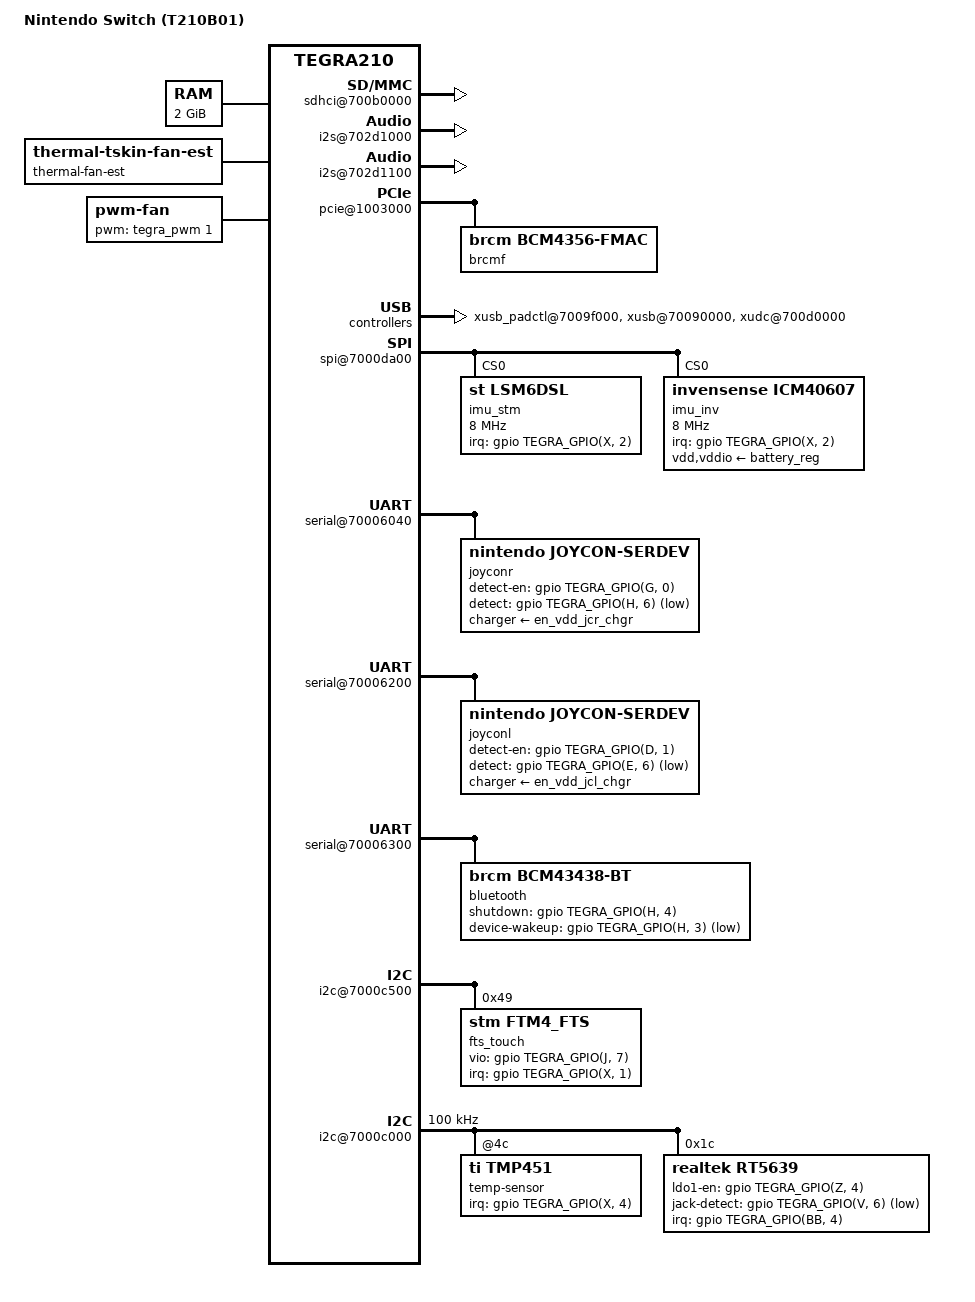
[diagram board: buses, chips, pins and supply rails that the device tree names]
/*
 * Copyright (c) 2022-2023, CTCaer <ctcaer@gmail.com>
 *
 * This program is free software; you can redistribute it and/or modify
 * it under the terms of the GNU General Public License as published by
 * the Free Software Foundation; version 2 of the License.
 *
 * This program is distributed in the hope that it will be useful, but WITHOUT
 * ANY WARRANTY; without even the implied warranty of MERCHANTABILITY or
 * FITNESS FOR A PARTICULAR PURPOSE.  See the GNU General Public License for
 * more details.
 *
 */

/dts-v1/;

/memreserve/ 0x80000000 0x00020000;

#include <tegra210b01-soc/tegra210b01-soc-common-platform.dtsi>
#include "tegra210-nx-keys.dtsi"
#include <tegra210-soc/tegra210-audio.dtsi>
#include <t210-common-platforms/tegra210-thermal-nct72-p2530.dtsi>
#include <tegra210-soc/tegra210-thermal-Tboard-Tdiode.dtsi>
#include <dt-bindings/soc/tegra-pmc.h>
#include <dt-bindings/thermal/tegra210b01-trips.h>

/ {
	model = "Nintendo Switch (T210B01)";
	compatible = "nintendo,nx", "nvidia,tegra210b01";

	nvidia,boardids = "2595:0000:A0";
	nvidia,proc-boardid = "2595:0000:A0";
	nvidia,pmu-boardid = "2595:0000:A0";
	#address-cells = <2>;
	#size-cells = <2>;

	serial-number = "1234";

	chosen {
		bootargs = "root=/dev/mmcblk0p1 rw rootwait fbcon=rotate:3 printk.synchronous=1 loglevel=8 console=fb0 console=ttyGS0";
		nvidia,bluetooth-mac = "11:22:33:44:55:66";
		nvidia,wifi-mac = "11:22:33:44:55:77";
	};

	se_elp@70420000 {
		status = "okay";
	};

	rtc {
		nvidia,pmc-wakeup = <&tegra_pmc PMC_WAKE_TYPE_EVENT 16
			PMC_TRIGGER_TYPE_HIGH>; /* rtc_irq */
	};

	tegra_fiq_debugger {
		status = "disabled";
	};

	pmc@7000e400 {
		/delete-property/ nvidia,secure-pmc;
		nvidia,invert-interrupt;
		nvidia,suspend-mode = <0>;
		nvidia,cpu-pwr-good-time = <0>;
		nvidia,cpu-pwr-off-time = <0>;
		nvidia,core-pwr-good-time = <13092 7752>;
		nvidia,core-pwr-off-time = <44188>;
		nvidia,core-pwr-req-active-high;
		nvidia,sys-clock-req-active-high;
		#nvidia,wake-cells = <3>;
		nvidia,restrict-voltage-switch;
		pinctrl-names = "default";
		pinctrl-0 = <&pinctrl_iopad_default>;
		pinctrl_iopad_default:iopad-defaults {

			audio-hv-pads {
				pins = "audio-hv";
				nvidia,power-source-voltage = <TEGRA_IO_PAD_VOLTAGE_1800000UV>;
			};

			audio-pads {
				nvidia,power-source-voltage = <TEGRA_IO_PAD_VOLTAGE_1800000UV>;
				pins = "audio";
			};

			cam-pads {
				nvidia,power-source-voltage = <TEGRA_IO_PAD_VOLTAGE_1800000UV>;
				pins = "cam";
			};

			dbg-pads {
				nvidia,power-source-voltage = <TEGRA_IO_PAD_VOLTAGE_1800000UV>;
				pins = "dbg";
			};

			dmic-pads {
				nvidia,power-source-voltage = <TEGRA_IO_PAD_VOLTAGE_1800000UV>;
				pins = "dmic";
			};

			spi-hv-pads {
				pins = "spi-hv";
				nvidia,power-source-voltage = <TEGRA_IO_PAD_VOLTAGE_1800000UV>;
			};

			gpio-pads {
				pins = "gpio";
				nvidia,power-source-voltage = <TEGRA_IO_PAD_VOLTAGE_1800000UV>;
			};

			pex-ctrl-pads {
				nvidia,power-source-voltage = <TEGRA_IO_PAD_VOLTAGE_1800000UV>;
				pins = "pex-ctrl";
			};

			sdmmc1-pads {
				pins = "sdmmc1";
				nvidia,enable-voltage-switching;
			};

			emmc2-pads {
				pins = "emmc2";
				low-power-enable;
			};

			sdmmc3-pads {
				low-power-enable;
				nvidia,enable-voltage-switching;
				nvidia,power-source-voltage = <TEGRA_IO_PAD_VOLTAGE_1800000UV>;
				pins = "sdmmc3";
			};

			spi-pads {
				nvidia,power-source-voltage = <TEGRA_IO_PAD_VOLTAGE_1800000UV>;
				pins = "spi";
			};

			uart-pads {
				nvidia,power-source-voltage = <TEGRA_IO_PAD_VOLTAGE_1800000UV>;
				pins = "uart";
			};
		};

		bootrom-commands {
			reset-commands {
				nvidia,command-retries-count = <2>;
				nvidia,delay-between-commands-us = <10>;
				nvidia,wait-before-start-bus-clear-us = <10>;
				#address-cells = <1>;
				#size-cells = <0>;

				commands@4-0068 {
					nvidia,command-names = "r2p-setup";
					reg = <0x68>;
					nvidia,enable-8bit-register;
					nvidia,enable-8bit-data;
					nvidia,controller-type-i2c;
					nvidia,controller-id = <4>;
					nvidia,enable-controller-reset;
					nvidia,write-commands = <
							0x13 0x00 /* r2p enc 0 */
							0x1A 0x00 /* r2p enc 1 */
							0x11 0x00 /* r2p mgc 0 */
							0x18 0x00 /* r2p mgc 1 */
							0x04 0x01 /* Update RTC regs */
						>;
				};
				commands@4-003c {
					nvidia,command-names = "pmic-rails";
					reg = <0x3c>;
					nvidia,enable-8bit-register;
					nvidia,enable-8bit-data;
					nvidia,controller-type-i2c;
					nvidia,controller-id = <4>;
					nvidia,enable-controller-reset;
					nvidia,write-commands = <
							0x16 0x20 /* Set 1.0V and disable SD0 */
							0x42 0x99 /* Wake reasons: SFT_RST/ACOK/LID/EN0 */
							0x41 0x80 /* Reboot */
						>;
				};
			};
		};
	};

	memory@80000000 {
		device_type = "memory";
		reg = < 0x0 0x80000000 0x0 0x80000000 >;
	};

	sdhci@700b0600 { /* SDMMC4 for EMMC */
		cd-gpios = <&gpio TEGRA_GPIO(Z, 1) 0>;
		bus-width = <8>;
		uhs-mask = <0x0>;       /* hs400 */
		tap-delay = <11>;
		trim-delay = <13>;
		only-1-8-v;
		no-sdio;
		no-sd;
		max-clk-limit = <200000000>;
		pll_source = "pll_p", "pll_c4_out2";
		clocks = <&tegra_car TEGRA210_CLK_SDMMC4>,
			   <&tegra_car TEGRA210_CLK_PLL_P>,
			   <&tegra_car TEGRA210_CLK_PLL_C4_OUT2>,
			   <&tegra_car TEGRA210_CLK_SDMMC_LEGACY>;
		clock-names = "sdmmc", "pll_p", "pll_c4_out2", "sdmmc_legacy_tm";
		status = "disabled";
	};

	sdhci@700b0400 { /* SDMMC3 Not Used */
		status = "disabled";
	};

	sdhci@700b0200 { /* SDMMC2 for Gamecard */
		uhs-mask = <0x0>;	/* hs400 */
		tap-delay = <11>;
		trim-delay = <13>;
		nvidia,is-ddr-tap-delay;
		nvidia,ddr-tap-delay = <0>;
		mmc-ocr-mask = <0>;
		dqs-trim-delay = <17>;
		dqs-trim-delay-hs533 = <24>;
		max-clk-limit = <200000000>;
		bus-width = <8>;
		built-in;
		calib-3v3-offsets = <0x0505>;
		calib-1v8-offsets = <0x0505>;
		compad-vref-3v3 = <0x7>;
		compad-vref-1v8 = <0x7>;
		nvidia,en-io-trim-volt;
		nvidia,is-emmc;
		nvidia,enable-cq;
		ignore-pm-notify;
		keep-power-in-suspend;
		non-removable;
		cap-mmc-highspeed;
		cap-sd-highspeed;
		mmc-ddr-1_8v;
		mmc-hs200-1_8v;
		mmc-hs400-1_8v;
		nvidia,enable-strobe-mode;
		pll_source = "pll_p", "pll_c4_out2";
		clocks = <&tegra_car TEGRA210_CLK_SDMMC2>,
			   <&tegra_car TEGRA210_CLK_PLL_P>,
			   <&tegra_car TEGRA210_CLK_PLL_C4_OUT2>;
		clock-names = "sdmmc", "pll_p", "pll_c4_out2";
		status = "disabled";
	};

	sdhci@700b0000 { /* SDMMC1 for uSD card */
		uhs-mask = <0x0c>;
		tap-delay = <11>;
		trim-delay = <14>;
		power-off-rail;
		default-drv-type = <0x01>;
		nvidia,update-pinctrl-settings;
		nvidia,sd-device;
		no-sdio;
		no-mmc;
		max-clk-limit = <200000000>;
		default-drv-type = <1>;
		pll_source = "pll_p", "pll_c4_out2";
		clocks = <&tegra_car TEGRA210_CLK_SDMMC1>,
			   <&tegra_car TEGRA210_CLK_PLL_P>,
			   <&tegra_car TEGRA210_CLK_PLL_C4_OUT2>,
			   <&tegra_car TEGRA210_CLK_SDMMC_LEGACY>;
		clock-names = "sdmmc", "pll_p", "pll_c4_out2", "sdmmc_legacy_tm";
		nvidia,cd-wakeup-capable;
		status = "okay";

		nvidia,pmc-wakeup = <&tegra_pmc
			PMC_WAKE_TYPE_EVENT 35 (PMC_TRIGGER_TYPE_RISING | PMC_TRIGGER_TYPE_FALLING)>; /* gpio_pz1_IB */
	};

	bpmp {
		carveout-start = <0xFFE00000>;
		carveout-size = <0x100000>;
	};

	aconnect@702c0000 {
		status = "okay";

		adma@702e2000  {
			status = "okay";
		};

		ahub {
			i2s@702d1000 {
				pinctrl-names = "dap_active", "dap_inactive";
				pinctrl-0 = <>;
				pinctrl-1 = <>;
				regulator-supplies = "vdd-1v8-audio-hv", "vdd-1v8-audio-hv-bias";
				vdd-1v8-audio-hv-supply = <&max77620_sd3>;
				vdd-1v8-audio-hv-bias-supply = <&max77620_sd3>;
				fsync-width = <31>;
				status = "okay";
			};

			i2s@702d1100 {
				pinctrl-names = "dap_active", "dap_inactive";
				pinctrl-0 = <>;
				pinctrl-1 = <>;
				regulator-supplies = "vdd-1v8-spi-hv", "vdd-1v8-spi-hv-bias";
				vdd-1v8-spi-hv-supply = <&max77620_sd3>;
				vdd-1v8-spi-hv-bias-supply = <&max77620_sd3>;
				fsync-width = <0>;
				status = "okay";
			};

			i2s@702d1200 {
				status = "disabled";
			};

			i2s@702d1300 {
				status = "disabled";
			};

			i2s@702d1400 {
				status = "disabled";
			};
		};

		adsp_audio {
			status = "disabled";
		};
	};

	pcie@1003000 {
		compatible = "nvidia,tegra210b01-pcie";
		nvidia,wake-gpio = <&gpio TEGRA_GPIO(A, 2) 0>; /* BCM4356 WIFI PME */

		avdd-pll-uerefe-supply = <&max77620_ldo1>;
		hvddio-pex-supply = <&max77620_sd3>;
		dvddio-pex-supply = <&max77620_ldo1>;
		dvdd-pex-pll-supply = <&max77620_ldo1>;
		hvdd-pex-pll-e-supply = <&max77620_sd3>;
		vddio-pex-ctl-supply = <&max77620_sd3>;
		status = "okay";

		pci@1,0 {
			phys =	<&{/xusb_padctl@7009f000/pads/pcie/lanes/pcie-3}>, /* Referred to plat config */
				<&{/xusb_padctl@7009f000/pads/pcie/lanes/pcie-2}>;
			phy-names = "pcie-0", "pcie-1";
			nvidia,num-lanes = <2>;
			status = "disabled";
		};

		pci@2,0 {
			phys = <&{/xusb_padctl@7009f000/pads/pcie/lanes/pcie-0}>;
			phy-names = "pcie-0";
			status = "okay";

			brcmf { /* PCIE-0 (Port 1) */
				compatible = "brcm,bcm4356-fmac";
				brcm,reset_on_wake;

				/* nvidia,pmc-wakeup = <&tegra_pmc
					PMC_WAKE_TYPE_EVENT 8 PMC_TRIGGER_TYPE_HIGH>; */ /* WiFi Wake Ap (H, 2) */
			};
		};
	};

	xusb_padctl@7009f000 {
		status = "okay";

		pads {
			usb2 {
				status = "okay";

				lanes {
					usb2-0 {
						nvidia,hs_curr_level_offset = <6>;
						nvidia,function = "xusb";
						status = "okay";
					};
				};
			};

			pcie {
				status = "okay";

				lanes {
					/* BCM4356A3-WiFi */
					pcie-0 {
						nvidia,function = "pcie-x1";
						status = "okay";
					};

					/* Unused ports */
					pcie-1 {
						nvidia,function = "xusb";
						status = "okay";
					};
					pcie-2 {
						nvidia,function = "pcie-x4";
						status = "okay";
					};
					pcie-3 {
						nvidia,function = "pcie-x4";
						status = "okay";
					};
					pcie-4 {
						nvidia,function = "xusb";
						status = "okay";
					};

					/* USB3 port */
					pcie-5 {
						nvidia,function = "xusb";
						status = "okay";
					};
				};
			};
		};

		ports {
			usb2-0 {
				status = "okay";
				mode = "otg";
				nvidia,usb3-port-fake = <0>;
			};

			usb3-0 {
				nvidia,usb2-companion = <0>;
				status = "okay";
			};
		};
	};

	spi@7000da00 {
		status = "okay"; /* Disabled for Vali */

		imu_stm: lsm6dsl@0 {
			compatible = "st,lsm6dsl";
			reg = <0>;
			spi-max-frequency = <8000000>;
			interrupt-parent = <&gpio>;
			interrupts = <TEGRA_GPIO(X, 2) IRQ_TYPE_LEVEL_HIGH>;
			st,drdy-int-pin = <2>;
			status = "okay"; /* Disabled for Vali/Frig */
			#address-cells = <0x1>;
			#size-cells = <0x0>;
			nvidia,enable-hw-based-cs;
			nvidia,cs-setup-clk-count = <0x1e>;
			nvidia,cs-hold-clk-count = <0x1e>;
			nvidia,rx-clk-tap-delay = <0x1f>;
			nvidia,tx-clk-tap-delay = <0x0>;
			mount-matrix =
				"0", "1",  "0", /* X:  y */
				"1", "0",  "0", /* Y:  x */
				"0", "0", "-1"; /* Z: -z */
		};

		imu_inv: icm40607@0 {
			compatible = "invensense,icm40607";
			reg = <0>;
			spi-max-frequency = <8000000>;
			spi-cpha;
			spi-cpol;
			interrupt-parent = <&gpio>;
			interrupts = <TEGRA_GPIO(X, 2) IRQ_TYPE_LEVEL_HIGH>;
			vdd-supply = <&battery_reg>;
			vddio-supply = <&battery_reg>;
			irq-int2;
			status = "okay"; /* Disabled for Modin/Vali */
			#address-cells = <0x1>;
			#size-cells = <0x0>;
			nvidia,enable-hw-based-cs;
			nvidia,cs-setup-clk-count = <0x1e>;
			nvidia,cs-hold-clk-count = <0x1e>;
			nvidia,rx-clk-tap-delay = <0x1f>;
			nvidia,tx-clk-tap-delay = <0x0>;
			mount-matrix =
				"0", "-1",  "0", /* X: -y */
				"1",  "0",  "0", /* Y:  x */
				"0",  "0", "-1"; /* Z: -z */
		};

		/delete-node/ spi-touch19x12@0;
		/delete-node/ spi-touch25x16@0;
		/delete-node/ spi-touch14x8@0;
	};

	cpufreq {
		compatible = "nvidia,tegra210-cpufreq";
		cpu-scaling-data {
			freq-table = <
				102000
				204000
				306000
				408000
				510000
				612000
				714000
				816000
				918000
				1020000
				1122000
				1224000
				1326000
				1428000
				1581000
				1683000
				1785000
				1887000
				1963500
				/* OC */
				2091000
				2193000
				2295000
				2397000
			>;
			max-safe-frequency = <1963500>;
			max-frequency = <2295000>;
			preserve-across-suspend;
		};

		emc-scaling-data {
			emc-cpu-limit-table = <
				/* CPU    EMC */
				102000	68000
				204800	102000
				307200	204000
				403000	408000
				710400	665600
				921600	1600000
				1581000	2131200
			>;
		};
	};

	dvfs {
		compatible = "nvidia,tegra210b01-dvfs", "nvidia,tegra210-dvfs";
		/*
		 * HOS:
		 * Beefy  regulator: Max 844800, Hard max 1228800.
		 * Retail regulator: Max 768000, Hard max  921600.
		 *
		 * L4T:
		 * Max freq: 1267200. Safe max: 998400
		 * 1075200 is too close to pmic limit with best binning (1721).
		 * 998400  is exactly at   pmic limit with bad  binning (1509).
		 */
		/* nvidia,gpu-max-freq-khz = <998400>; */ /* Still set for Vali */

		/*
		 * Voltage method of capping based on Speedo and Power draw.
		 * 800mV means the following:
		 * Normal:
		 *  Best binning (1721): 1075200 (9.7A)
		 *  Bad  binning (1509):  998400 (9.9A)
		 * B-Side:
		 *  Best binning (1721): 1152000 (10.8A)
		 *  Bad  binning (1509):  998400 ( 9.6A)
		 *
		 * Desired limits always too close to 10A,
		 * so pmic current limit is not triggered.
		 */
		nvidia,gpu-max-volt-mv = <800>;
	};

	gpu-dvfs-rework {
		status = "okay";
	};

	/* Console port */
	serial@70006000 {
		status = "disabled";
		console-port;
		sqa-automation-port;
		enable-rx-poll-timer;

		/delete-property/ resets;
		/delete-property/ reset-names;
	};

	/* Right Joycon */
	serial@70006040 {
		status = "okay";
		nvidia,invert-txd;
		nvidia,invert-rts;

		joyconr {
			status = "okay";
			name = "joyconr";
			compatible = "nintendo,joycon-serdev";
			charger-supply = <&en_vdd_jcr_chgr>;
			detect-en-gpios = <&gpio TEGRA_GPIO(G, 0) GPIO_ACTIVE_HIGH>;
			detect-gpios = <&gpio TEGRA_GPIO(H, 6) GPIO_ACTIVE_LOW>;
		};
	};

	/* Left Joycon / Sio */
	serial@70006200 {
		status = "okay";
		nvidia,invert-txd;
		nvidia,invert-rts;

		joyconl {
			status = "okay";
			name = "joyconl";
			compatible = "nintendo,joycon-serdev";
			charger-supply = <&en_vdd_jcl_chgr>;
			detect-en-gpios = <&gpio TEGRA_GPIO(D, 1) GPIO_ACTIVE_HIGH>;
			detect-gpios = <&gpio TEGRA_GPIO(E, 6) GPIO_ACTIVE_LOW>;
		};

		sio {
			status = "disabled";
			name = "sio";
			compatible = "nintendo,joycon-serdev";
			nintendo,sio;
			nintendo,sio-home-gpio = <&gpio TEGRA_GPIO(V, 3) 1>;
			nintendo,sio-por-gpio = <&gpio TEGRA_GPIO(CC, 5) 0>;
			nintendo,sio-rst-gpio = <&gpio TEGRA_GPIO(T, 1) 0>;

			clocks = <&tegra_car TEGRA210_CLK_CLK_OUT_2>,
				 <&tegra_car TEGRA210_CLK_CLK_OUT_2_MUX>,
				 <&tegra_car TEGRA210_CLK_EXTERN2>,
				 <&tegra_car TEGRA210_CLK_PLL_P>;
			clock-names = "sio_clk", "sio_pclk_mux", "sio_pclk",
				      "sio_pclk_pll";
			sio-clock-rate = <4000000>;
		};
	};

	serial@70006300 {
		dma-names = "tx";
		status = "okay";

		bluetooth {
			compatible = "brcm,bcm43438-bt";
			shutdown-gpios = <&gpio TEGRA_GPIO(H, 4) GPIO_ACTIVE_HIGH>;
			device-wakeup-gpios = <&gpio TEGRA_GPIO(H, 3) GPIO_ACTIVE_LOW>;
			/* host-wakeup-gpios = <&gpio TEGRA_GPIO(H, 5) GPIO_ACTIVE_LOW>; */ /* Enables auto-sleep */
			max-speed = <3000000>; /* Max supported 4 MBaud */
			sco-routing = <1>; /* Over HCI */

			/* nvidia,pmc-wakeup = <&tegra_pmc PMC_WAKE_TYPE_EVENT 52 PMC_TRIGGER_TYPE_LOW>; */ /* bt_wake_ap_IB */
		};
	};

	mailbox@70098000 {
		status = "okay";
	};

	extcon {
		extcon@0 {
			status = "disabled";
		};
	};

	/delete-node/ psy_extcon_xudc;
	/delete-node/ usb_cd@7009f000;

	psy_extcon {
		compatible = "power-supply-extcon";
		extcon-cables = <&bm92t 1>;
		extcon-cable-names = "usb-charger";
	};

	xusb@70090000 {
		compatible = "nvidia,tegra210b01-xhci";
		status = "okay";
		#extcon-cells = <1>;
		phys =  <&{/xusb_padctl@7009f000/pads/usb2/lanes/usb2-0}>,
			<&{/xusb_padctl@7009f000/pads/pcie/lanes/pcie-5}>;
		phy-names = "usb2-0", "usb3-0";
		extcon-cables = <&bm92t 0>;
		extcon-cable-names = "id";
		nvidia,boost_cpu_freq = <1200>;
	};

	xudc@700d0000 {
		compatible = "nvidia,tegra210b01-xudc";
		#extcon-cells = <1>;
		status = "okay";
		phys =  <&{/xusb_padctl@7009f000/pads/usb2/lanes/usb2-0}>,
			<&{/xusb_padctl@7009f000/pads/pcie/lanes/pcie-5}>;
		phy-names = "usb2", "usb3";
		extcon-cables = <&bm92t 1>;
		extcon-cable-names = "vbus";
		nvidia,boost_cpu_freq = <1200>;
	};

	xotg {
		#extcon-cells = <1>;
		status = "disabled";
	};

	thermal_fan_est_shared_data: tfesd {
		secret = <37>;
		toffset = <0>;
		polling_period = <1100>;
		ndevs = <2>;
		cdev_type = "pwm-fan";
		tzp_governor_name = "continuous_therm_gov";

		dev1 {
			dev_data = "Tdiode_tegra";
			group = <0>;

			/* Modin SoC Console */
			coeffs_mode0 = <6728 129810>;

			/* Modin SoC Handheld */
			coeffs_mode1 = <5675 203453>;
		};

		dev2 {
			dev_data = "Tboard_tegra";
			group = <1>;

			/* Modin PCB Console */
			coeffs_mode0 = <7338 112161>;

			/* Modin PCB Handheld */
			coeffs_mode1 = <6357 168124>;
		};
	};

	thermal-fan-est {
		compatible = "thermal-tskin-fan-est";
		name = "thermal-fan-est";
		status = "okay";

		num_resources = <0>;
		shared_data = <&thermal_fan_est_shared_data>;
		trip_length = <10>;

		thermal-zone-params {
			governor-name = "continuous_therm_gov";
			iir_power = <7>;
			iir_min = <10>;
			iir_max = <1000>;
			iir_gain_qp = <1000>;
			iir_upper_width = <5000>;
			iir_lower_width = <15000>;
		};

		profiles {
			default = "Console";
			Console {
				name = "Console";
				active_trip_temps = <
					0 36000 40000 43000 53000 58000
					70000 80000 90000 100000>; /* Unused */
				active_hysteresis = <0 0 3900 2900 0 0 0 0 0 0>;
			};
			Handheld {
				name = "Handheld";
				active_trip_temps = <
					0 36000 40000 43000 48000 53000 58000 60000
					90000 100000>; /* Unused */
				active_hysteresis = <0 0 3900 2900 0 4900 0 0 0 0>;
			};
			/* Uses Handheld tskin coeffs and Console fan duties */
			Cool {
				name = "Cool";
				active_trip_temps = <
					0 32000 37000 40000 45000 55000
					70000 80000 90000 100000>; /* Unused */
				active_hysteresis = <0 0 0 0 0 0 0 0 0 0>;
			};
		};
	};

	pwm_fan_shared_data: pfsd {
		secret = <47>;
		num_resources = <0>;
		active_steps = <10>;
		active_rpm = <0 0 2600 2600 4900 6900 10000 10000 10000 10000>;
		active_rru = <10 10 10 1 1 1 1 1 1 1>;
		active_rrd = <10 10 10 1 1 1 1 1 1 1>;
		state_cap_lookup = <1 1 2 6 6 6 6 6 6 6>;

		pwm_period = <33333>;
		pwm_id = <1>;
		pwm_polarity = <1>;
		step_time = <100>;
		state_cap = <6>;
		active_pwm_max = <256>;
		tach_gpio =  <&gpio TEGRA_GPIO(S, 7) GPIO_ACTIVE_LOW>; /* TEGRA_GPIO_PS7 */
		pwm_gpio = <&gpio TEGRA_GPIO(V, 4) GPIO_ACTIVE_LOW>; /* TEGRA_GPIO_PV4 */
		tach_period = <1000>;
	};

	pwm-fan {
		compatible = "pwm-fan";
		name = "pwm-fan";
		status = "okay";
		pwms = <&tegra_pwm 1 33333>;
		shared_data = <&pwm_fan_shared_data>;
		continuous_gov_boot_on;

		profiles {
			default = "Console";
			Console {
				name = "Console";
				state_cap = <6>;
				active_pwm = <0 0 51 51 153 255 255 255 255 255>;
			};
			Handheld {
				name = "Handheld";
				state_cap = <7>;
				active_pwm = <0 0 51 51 102 153 204 255 255 255>;
			};
			Cool {
				name = "Cool";
				state_cap = <6>;
				active_pwm = <0 0 51 51 153 255 255 255 255 255>;
			};
		};
	};

	tegra_pmc_lsb_pwm: tegra-pmc-led-soft-blink-pwm {
		status = "disabled";
		pwm,led-breathing-ramp-time-ns = <61036>; /* 61 us */
		pwm,led-breathing-short-period-ns = <30518>; /* 30 us */
	};

	/* kill it and export pwm or find a way to use it */

//	notification_led: pwmleds {
//		compatible = "pwm-leds";
//		status = "disabled";
//		blue {
//			label = "blue";
//			pwms = <&tegra_pmc_lsb_pwm 0 122072>; /* 122us. Min: 30 us (and 2x ramp time) */
//			/* linux,default_trigger = "heartbeat"; */
//		};
//	};

	ptm {
		status = "disabled";
	};

	i2c@7000c500 {
		fts_touch: fts@49 {
			compatible = "stm,ftm4_fts";
			status = "okay";
			reg = <0x49>;
			interrupt-parent = <&gpio>;
			interrupts = <TEGRA_GPIO(X, 1) IRQ_TYPE_LEVEL_LOW>;
			stm,vio-gpio = <&gpio TEGRA_GPIO(J, 7) GPIO_ACTIVE_HIGH>;
			stm,irq_type = <0x2000>; /* IRQF_ONESHOT */
			stm,regulator_avdd = "vdd-tp-2v9";
			stm,max_coords = <1280 720>;
			stm,max-real-coords = <1264 704>;
			stm,edge-offset = <15 15>;
			stm,delayed-open;
			stm,delayed-open-time = <0>;
		};
	};

	i2c@7000c000 {
		clock-frequency = <100000>;

		temp-sensor@4c {
			compatible = "ti,tmp451";
			interrupt-parent = <&gpio>;
			interrupts = <TEGRA_GPIO(X, 4) IRQ_TYPE_LEVEL_LOW>;
			offset-hi-res = <0xF38>; /* -12.5 oC offset on T210B01 */
			loc-shutdown-limit = <120>;
			ext-shutdown-limit = <99>; /* 98.75 oC */

			/delete-property/ offset;
			/delete-node/ loc;
			/delete-node/ ext;
		};

		rt5639: rt5639@1c {
			compatible = "realtek,rt5639";
			reg = <0x1c>;
			interrupt-parent = <&gpio>;
			interrupts = <TEGRA_GPIO(BB, 4) IRQ_TYPE_EDGE_RISING>;
			realtek,ldo1-en-gpios = <&gpio TEGRA_GPIO(Z, 4) GPIO_ACTIVE_HIGH>;
			realtek,jack-detect-gpios = <&gpio TEGRA_GPIO(V, 6) GPIO_ACTIVE_LOW>;
			realtek,over-current-threshold-microamp = <600>;
			realtek,over-current-scale-factor = <2>;
			realtek,external-microphone;
			realtek,sel-jd-source = <4>;
			realtek,jack-detect-is-jd1;
			realtek,eq-config-type = <0>;
		};
	};

	tegra_sound: sound {
		compatible = "nvidia,tegra-audio-t210ref-mobile-rt5640";
		nvidia,model = "tegra-snd-t210ref-mobile-rt565x";

		clocks = <&tegra_car TEGRA210_CLK_PLL_P_OUT1>,
						<&tegra_car TEGRA210_CLK_PLL_A>,
						<&tegra_car TEGRA210_CLK_PLL_A_OUT0>,
						<&tegra_car TEGRA210_CLK_D_AUDIO>,
						<&tegra_car TEGRA210_CLK_CLK_M>,
						<&tegra_car TEGRA210_CLK_EXTERN1>;
		clock-names = "pll_p_out1", "pll_a", "pll_a_out0", "ahub",
			"clk_m", "extern1";


		assigned-clocks = <&tegra_car TEGRA210_CLK_PLL_A>,
			<&tegra_car TEGRA210_CLK_PLL_A_OUT0>,
			<&tegra_car TEGRA210_CLK_D_AUDIO>,
			<&tegra_car TEGRA210_CLK_EXTERN1>;
		assigned-clock-rates = <368640000>, <36864000>,
			<36864000>, <12288000>;

		nvidia,num-codec-link = <2>;

		nvidia,audio-routing =
			"x Headphone Jack",	"x HPOL",
			"x Headphone Jack",	"x HPOR",
			"x Int Spk",		"x SPORP",
			"x Int Spk",		"x SPORN",
			"x Int Spk",		"x SPOLP",
			"x Int Spk",		"x SPOLN",
			"x IN1P",		"x Mic Jack",
			"x IN1P",		"x Mic Jack",
			"y Headphone",		"y OUT",
			"y IN",			"y Mic";

		nvidia,xbar = <&tegra_axbar>;

		mclk-fs = <256>;

		/* RT5639 I2S1 */
		nvidia,dai-link-1 {
			link-name = "rt565x-playback";
			cpu-dai = <&tegra_i2s1>;
			codec-dai = <&rt5639>;
			cpu-dai-name = "I2S1";
			codec-dai-name = "rt5640-aif1";
			format = "i2s";
			bitclock-slave;
			frame-slave;
			bitclock-noninversion;
			frame-noninversion;
			bit-format = "s16_le";
			bclk-ratio = <0>;
			srate = <48000>;
			num-channel = <2>;
			name-prefix = "x";
		};

		/* BCM4356-BT PCM */
		nvidia,dai-link-2 {
			link-name = "spdif-dit-1";
			cpu-dai = <&tegra_i2s2>;
			codec-dai = <&spdif_dit1>;
			cpu-dai-name = "I2S2";
			codec-dai-name = "dit-hifi";
			format = "dsp_a";
			bitclock-slave;
			frame-slave;
			bitclock-inversion;
			frame-noninversion;
			bit-format = "s16_le";
			bclk-ratio = <4>;
			srate = <8000>;
			num-channel = <1>;
			name-prefix = "y";
		};
	};

	wifi-antenna-tuning {
		status = "disabled";
	};

	tegra_udrm: tegra_udrm {
		compatible = "nvidia,tegra-udrm";
	};

	soctherm@0x700E2000 {
		throttle-cfgs {
			/* PG/ACOK/USB OC pin. CLK_32K_OUT. Used for LED PWM on Vali. */
			/*
			throttle_oc1: oc1 { // Sticky mode but not supported.
				nvidia,priority = <16>;
				nvidia,polarity-active-low = <1>;
				nvidia,count-threshold = <0>;
				nvidia,throttle-period = <2500000>;
				nvidia,alarm-filter = <0xFFFFFFFF>;
				nvidia,cpu-throt-percent = <75>;
				nvidia,gpu-throt-level = <TEGRA_SOCTHERM_THROT_LEVEL_MED>;
			};
			*/

			/* Battery OC pin. GPIO_PL1. Traced but missing resistor. */
			/*
			throttle_oc2: oc2 {
				nvidia,priority = <24>;
				nvidia,polarity-active-low = <1>;
				nvidia,count-threshold = <0>;
				nvidia,throttle-period = <100>;
				nvidia,alarm-filter = <0xFFFFFFFF>;
				nvidia,cpu-throt-percent = <75>;
				nvidia,gpu-throt-level = <TEGRA_SOCTHERM_THROT_LEVEL_MED>;
			};
			*/

			/* throttle_oc3: oc3: GPIO_PZ5. Floating. */
		};
	};

	thermal-zones {
		PLL-therm {
			status = "okay";
			polling-delay-passive = <500>;
			thermal-zone-params {
				governor-name = "step_wise";
			};
			trips {
				cpu_heavy {
					temperature = <94500>;
					hysteresis = <0>;
					type = "hot";
					writable;
				};
				cpu_throttle {
					temperature = <90500>;
					hysteresis = <0>;
					type = "passive";
					writable;
				};
				cpu_critical {
					temperature = <96000>;
					hysteresis = <0>;
					type = "critical";
					writable;
				};
				dfll_cap_trip0: dfll-cap-trip0 {
					temperature = <TEGRA210B01_DFLL_THERMAL_CAP_0>;
					hysteresis = <1000>; /* millicelsius */
					type = "active";
				};
				dfll_cap_trip1: dfll-cap-trip1 {
					temperature = <TEGRA210B01_DFLL_THERMAL_CAP_1>;
					hysteresis = <1000>; /* millicelsius */
					type = "active";
				};
			};
			cooling-maps {
				map0 {
					trip = <&{/thermal-zones/PLL-therm/trips/cpu_heavy}>;
					cdev-type = "tegra-heavy";
					cooling-device = <&throttle_heavy 1 1>;
				};
				map1 {
					trip = <&{/thermal-zones/PLL-therm/trips/cpu_throttle}>;
					cdev-type = "cpu-balanced";
					cooling-device = <&{/bthrot_cdev/cpu_balanced}
						THERMAL_NO_LIMIT THERMAL_NO_LIMIT>;
				};
				dfll-cap-map0 {
					trip = <&dfll_cap_trip0>;
					cooling-device = <&dfll_cap 1 1>;
				};
				dfll-cap-map1 {
					trip = <&dfll_cap_trip1>;
					cooling-device = <&dfll_cap 2 2>;
				};
			};
		};
		Tboard_tegra {
			status = "okay";
			polling-delay = <0>;
			polling-delay-passive = <5500>;

			trips {
				board_emergency {
					temperature = <85000>;
					hysteresis = <2000>;
					type = "passive";
					writable;
				};
			};
			cooling-maps {
				map0 {
					trip = <&{/thermal-zones/Tboard_tegra/trips/board_emergency}>;
					cdev-type = "emergency-balanced";
					cooling-device = <&{/bthrot_cdev/emergency_balanced}
						THERMAL_NO_LIMIT THERMAL_NO_LIMIT>;
				};
			};
		};
		Tdiode_tegra {
			status = "okay";
			polling-delay = <0>;
			polling-delay-passive = <1100>;

			trips {
				gpu_shutdown {
					temperature = <92500>;
					hysteresis = <0>;
					type = "critical";
					writable;
				};

				gpu_throttle {
					temperature = <86000>;
					hysteresis = <0>;
					type = "passive";
					writable;
				};
				gpu_scaling_trip0: gpu-scaling-trip0 {
					temperature = <(TEGRA210B01_GPU_DVFS_THERMAL_MIN)>;
					hysteresis = <0>; /* millicelsius */
					type = "active";
				};
				gpu_scaling_trip1: gpu-scaling-trip1 {
					temperature = <TEGRA210B01_GPU_DVFS_THERMAL_TRIP_1>;
					hysteresis = <1000>; /* millicelsius */
					type = "active";
				};
				gpu_scaling_trip2: gpu-scaling-trip2 {
					temperature = <TEGRA210B01_GPU_DVFS_THERMAL_TRIP_2>;
					hysteresis = <1000>; /* millicelsius */
					type = "active";
				};
				gpu_scaling_trip3: gpu-scaling-trip3 {
					temperature = <TEGRA210B01_GPU_DVFS_THERMAL_TRIP_3>;
					hysteresis = <1000>; /* millicelsius */
					type = "active";
				};
				gpu_scaling_trip4: gpu-scaling-trip4 {
					temperature = <TEGRA210B01_GPU_DVFS_THERMAL_TRIP_4>;
					hysteresis = <1000>; /* millicelsius */
					type = "active";
				};
				gpu_scaling_trip5: gpu-scaling-trip5 {
					temperature = <TEGRA210B01_GPU_DVFS_THERMAL_TRIP_5>;
					hysteresis = <1000>; /* millicelsius */
					type = "active";
				};

				gpu_vmax_trip1: gpu-vmax-trip1 {
					temperature = <TEGRA210B01_GPU_DVFS_THERMAL_CAP_1>;
					hysteresis = <1000>; /* millicelsius */
					type = "active";
				};
				core_dvfs_floor_trip0: core_dvfs_floor_trip0 {
					temperature = <TEGRA210B01_SOC_THERMAL_FLOOR_0>;
					hysteresis = <1000>;
					type = "active";
				};

				core_dvfs_cap_trip0: core_dvfs_cap_trip0 {
					temperature = <TEGRA210B01_SOC_THERMAL_CAP_0>;
					hysteresis = <1000>;
					type = "active";
				};
				soc_critical {
					temperature = <96000>;
					hysteresis = <0>;
					type = "critical";
					writable;
				};
				soc_emergency {
					temperature = <85000>;
					hysteresis = <2000>;
					type = "passive";
					writable;
				};
				dfll_floor_trip0: dfll-floor-trip0 {
					temperature = <TEGRA210B01_DFLL_THERMAL_FLOOR_0>;
					hysteresis = <1000>; /* millicelsius */
					type = "active";
				};
			};
			cooling-maps {
				map0 {
					trip = <&{/thermal-zones/Tdiode_tegra/trips/soc_critical}>;
					cdev-type = "tegra-shutdown";
					cooling-device = <&{/soctherm@0x700E2000/throttle@critical}
						THERMAL_NO_LIMIT THERMAL_NO_LIMIT>;
				};
				map1 {
					trip = <&{/thermal-zones/Tdiode_tegra/trips/soc_emergency}>;
					cdev-type = "emergency-balanced";
					cooling-device = <&{/bthrot_cdev/emergency_balanced}
						THERMAL_NO_LIMIT THERMAL_NO_LIMIT>;
				};
				gpu-scaling-map1 {
					trip = <&gpu_scaling_trip1>;
					cooling-device = <&gpu_scaling_cdev 1 1>;
				};
				gpu-scaling-map2 {
					trip = <&gpu_scaling_trip2>;
					cooling-device = <&gpu_scaling_cdev 2 2>;
				};
				gpu_scaling_map3 {
					trip = <&gpu_scaling_trip3>;
					cooling-device = <&gpu_scaling_cdev 3 3>;
				};
				gpu-scaling-map4 {
					trip = <&gpu_scaling_trip4>;
					cooling-device = <&gpu_scaling_cdev 4 4>;
				};
				gpu-scaling-map5 {
					trip = <&gpu_scaling_trip5>;
					cooling-device = <&gpu_scaling_cdev 5 5>;
				};

				gpu-vmax-map1 {
					trip = <&gpu_vmax_trip1>;
					cooling-device = <&gpu_vmax_cdev 1 1>;
				};

				core_dvfs_floor_map0 {
					trip = <&core_dvfs_floor_trip0>;
					cooling-device = <&core_dvfs_floor 1 1>;
				};
				core_dvfs_cap_map0 {
					trip = <&core_dvfs_cap_trip0>;
					cooling-device = <&core_dvfs_cap 1 1>;
				};

				dfll-floor-map0 {
					trip = <&dfll_floor_trip0>;
					cooling-device = <&dfll_floor 1 1>;
				};
				map2 {
					trip = <&{/thermal-zones/Tdiode_tegra/trips/gpu_throttle}>;
					cdev-type = "gpu-balanced";
					cooling-device = <&{/bthrot_cdev/gpu_balanced}
						THERMAL_NO_LIMIT THERMAL_NO_LIMIT>;
				};
			};
		};
		AO-therm {
			status = "okay";
		};
	};

	dummy_cool_dev: dummy-cool-dev {
		status = "disabled";
	};

	pinmux@700008d4 {
		dsi_ab_pad_default: dsi_ab_pad_default {
			dsi_ab_pad_enable {
				nvidia,pins = "pad_dsi_ab";
				nvidia,pad-power = <TEGRA_PIN_ENABLE>;
			};
		};
		dsi_cd_pad_default: dsi_cd_pad_default {
			dsi_cd_pad_enable {
				nvidia,pins = "pad_dsi_cd";
				nvidia,pad-power = <TEGRA_PIN_ENABLE>;
			};
		};
		dsi_ab_pad_idle: dsi_ab_pad_idle {
			dsi_ab_pad_disable {
				nvidia,pins = "pad_dsi_ab";
				nvidia,pad-power = <TEGRA_PIN_DISABLE>;
			};
		};
		dsi_cd_pad_idle: dsi_cd_pad_idle {
			dsi_cd_pad_disable {
				nvidia,pins = "pad_dsi_cd";
				nvidia,pad-power = <TEGRA_PIN_DISABLE>;
			};
		};

		/* Always on for T210B01 NX */
		sdmmc1_schmitt_disable {
			sdmmc1 {
				nvidia,schmitt = <TEGRA_PIN_ENABLE>;
			};
		};
		sdmmc1_clk_schmitt_disable {
			sdmmc1 {
				nvidia,schmitt = <TEGRA_PIN_ENABLE>;
			};
		};
	};

	host1x {
		dc@54200000 {
			pinctrl-names = "pad_ab_default", "pad_ab_idle",
				"pad_cd_default", "pad_cd_idle";
			pinctrl-0 = <&dsi_ab_pad_default>;
			pinctrl-1 = <&dsi_ab_pad_idle>;
			pinctrl-2 = <&dsi_cd_pad_default>;
			pinctrl-3 = <&dsi_cd_pad_idle>;
		};
	};

	clock@70110000 {
		status = "okay";
		vdd-cpu-supply = <&cpu_max_reg>;
		nvidia,align-step-uv = <5000>;
		nvidia,sample-rate = <12500>;
		nvidia,droop-ctrl = <0x00000f00>;
		nvidia,force-mode = <1>;
		nvidia,cf = <6>;
		nvidia,ci = <0>;
		nvidia,cg = <2>;
		nvidia,i2c-fs-rate = <400000>;
		nvidia,pmic-undershoot-gb = <0>; /* Use pmic default min */
		/* nvidia,dfll-max-freq-khz = <1683000>; */
	};

	cpus {
		cpu@0 {
			compatible = "arm,cortex-a57", "arm,armv8";
			clocks = <&tegra_car TEGRA210_CLK_CCLK_G>,
				 <&tegra_car TEGRA210_CLK_CCLK_LP>,
				 <&tegra_car TEGRA210_CLK_PLL_X>,
				 <&tegra_car TEGRA210_CLK_PLL_P_OUT4>,
				 <&tegra_clk_dfll>;
			clock-names = "cpu_g", "cpu_lp", "pll_x", "pll_p", "dfll";
			clock-latency = <300000>;
		};

		cpu@1 {
			compatible = "arm,cortex-a57", "arm,armv8";
		};

		cpu@2 {
			compatible = "arm,cortex-a57", "arm,armv8";
		};

		cpu@3 {
			compatible = "arm,cortex-a57", "arm,armv8";
		};
	};

	memory-controller@70019000 {
		status = "okay";
	};

	core_dvfs_cdev_cap {
		clocks = <&tegra_car TEGRA210_CLK_CAP_VCORE_C2BUS>,
			 <&tegra_car TEGRA210_CLK_CAP_VCORE_C3BUS>,
			 <&tegra_car TEGRA210_CLK_CAP_VCORE_CBUS>,
			 <&tegra_car TEGRA210_CLK_CAP_VCORE_APE>;
		clock-names = "c2bus_cap", "c3bus_cap", "cbus_cap", "ape_cap";
		status = "disabled";
	};

	reserved-memory {
		iram-carveout {
			status = "disabled";
		};
		vpr-carveout {
			status = "disabled";
		};
	};

	nvpmodel {
		/* clocks = <&bpmp_car 0>; */
		/* clock-names = "emc"; */
		status = "okay";
	};

	nvdumper {
		status = "disabled";
	};

	dfll_cap: dfll-cdev-cap {
		compatible = "nvidia,tegra-dfll-cdev-action";
		act-dev = <&tegra_clk_dfll>;
		cdev-type = "DFLL-cap";
		#cooling-cells = <2>; /* min followed by max */
	};

	dfll_floor: dfll-cdev-floor {
		compatible = "nvidia,tegra-dfll-cdev-action";
		act-dev = <&tegra_clk_dfll>;
		cdev-type = "DFLL-floor";
		#cooling-cells = <2>; /* min followed by max */
	};

	gpu_scaling_cdev: gpu-scaling-cdev {
		cooling-min-state = <0>;
		cooling-max-state = <5>;
		#cooling-cells = <2>;
		compatible = "nvidia,tegra210-rail-scaling-cdev";
		cdev-type = "gpu_scaling";
		nvidia,constraint;
		nvidia,trips = <&gpu_scaling_trip0 800 &gpu_scaling_trip1 0
				&gpu_scaling_trip2 0 &gpu_scaling_trip3 0
				&gpu_scaling_trip4 0 &gpu_scaling_trip5 0>;
	};

	gpu_vmax_cdev: gpu-vmax-cdev {
		cooling-min-state = <0>;
		cooling-max-state = <1>;
		#cooling-cells = <2>;
		compatible = "nvidia,tegra210-rail-vmax-cdev";
		cdev-type = "GPU-cap";
		nvidia,constraint-ucm2;
		nvidia,trips = <&gpu_vmax_trip1 1010 1010>;
		clocks = <&tegra_car TEGRA210_CLK_CAP_VGPU_GBUS>;
		clock-names = "cap-clk";
		status = "disabled";
	};
};
